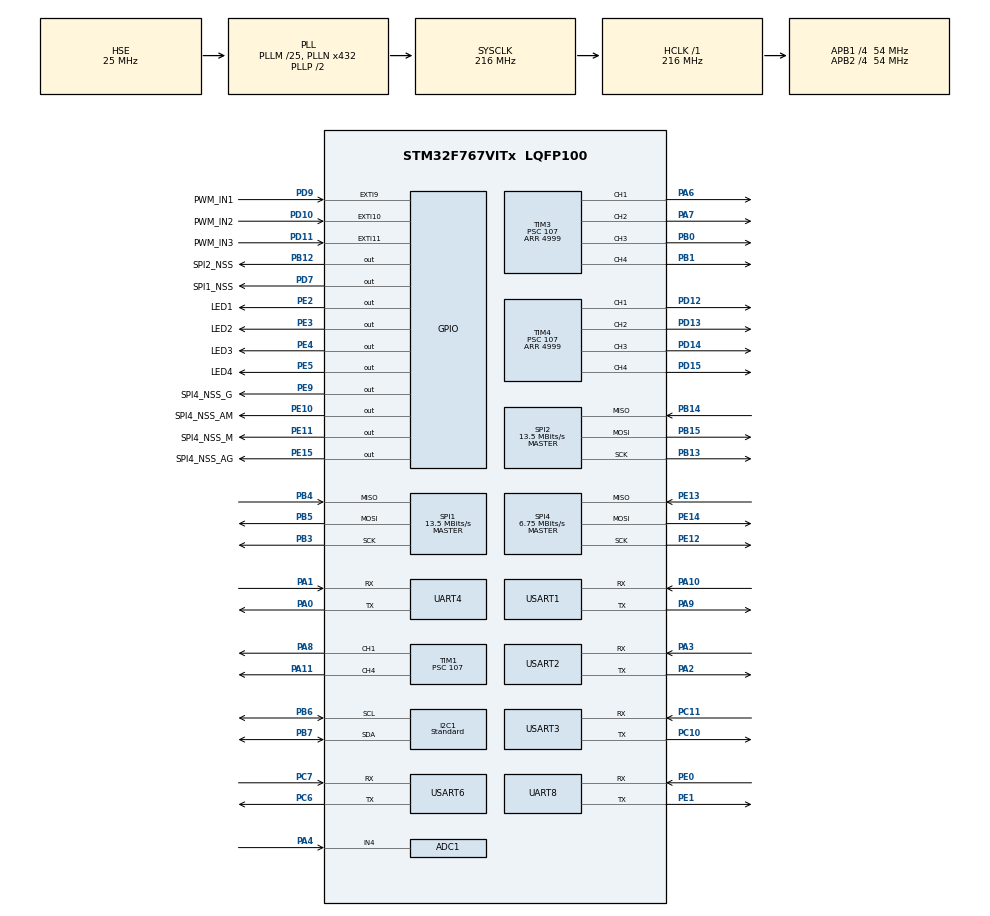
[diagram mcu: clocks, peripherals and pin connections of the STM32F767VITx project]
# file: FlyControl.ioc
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ADC1.Channel-0\#ChannelRegularConversion=ADC_CHANNEL_4
ADC1.NbrOfConversionFlag=1
ADC1.Rank-0\#ChannelRegularConversion=1
ADC1.SamplingTime-0\#ChannelRegularConversion=ADC_SAMPLETIME_3CYCLES
ADC1.master=1
Dma.ADC1.0.Direction=DMA_PERIPH_TO_MEMORY
Dma.ADC1.0.FIFOMode=DMA_FIFOMODE_DISABLE
Dma.ADC1.0.Instance=DMA2_Stream0
Dma.ADC1.0.MemDataAlignment=DMA_MDATAALIGN_HALFWORD
Dma.ADC1.0.MemInc=DMA_MINC_ENABLE
Dma.ADC1.0.Mode=DMA_NORMAL
Dma.ADC1.0.PeriphDataAlignment=DMA_PDATAALIGN_HALFWORD
Dma.ADC1.0.PeriphInc=DMA_PINC_DISABLE
Dma.ADC1.0.Priority=DMA_PRIORITY_LOW
Dma.I2C1_RX.1.Direction=DMA_PERIPH_TO_MEMORY
Dma.I2C1_RX.1.FIFOMode=DMA_FIFOMODE_DISABLE
Dma.I2C1_RX.1.Instance=DMA1_Stream5
Dma.I2C1_RX.1.MemDataAlignment=DMA_MDATAALIGN_BYTE
Dma.I2C1_RX.1.MemInc=DMA_MINC_ENABLE
Dma.I2C1_RX.1.Mode=DMA_NORMAL
Dma.I2C1_RX.1.PeriphDataAlignment=DMA_PDATAALIGN_BYTE
Dma.I2C1_RX.1.PeriphInc=DMA_PINC_DISABLE
Dma.I2C1_RX.1.Priority=DMA_PRIORITY_LOW
Dma.I2C1_TX.2.Direction=DMA_MEMORY_TO_PERIPH
Dma.I2C1_TX.2.FIFOMode=DMA_FIFOMODE_DISABLE
Dma.I2C1_TX.2.Instance=DMA1_Stream7
Dma.I2C1_TX.2.MemDataAlignment=DMA_MDATAALIGN_BYTE
Dma.I2C1_TX.2.MemInc=DMA_MINC_ENABLE
Dma.I2C1_TX.2.Mode=DMA_NORMAL
Dma.I2C1_TX.2.PeriphDataAlignment=DMA_PDATAALIGN_BYTE
Dma.I2C1_TX.2.PeriphInc=DMA_PINC_DISABLE
Dma.I2C1_TX.2.Priority=DMA_PRIORITY_LOW
Dma.Request0=ADC1
Dma.Request1=I2C1_RX
Dma.Request10=UART4_RX
Dma.Request11=UART4_TX
Dma.Request12=UART8_TX
Dma.Request2=I2C1_TX
Dma.Request3=USART3_RX
Dma.Request4=USART1_RX
Dma.Request5=USART1_TX
Dma.Request6=USART6_RX
Dma.Request7=USART6_TX
Dma.Request8=USART3_TX
Dma.Request9=UART8_RX
Dma.UART4_RX.10.Direction=DMA_PERIPH_TO_MEMORY
Dma.UART4_RX.10.FIFOMode=DMA_FIFOMODE_DISABLE
Dma.UART4_RX.10.Instance=DMA1_Stream2
Dma.UART4_RX.10.MemDataAlignment=DMA_MDATAALIGN_BYTE
Dma.UART4_RX.10.MemInc=DMA_MINC_ENABLE
Dma.UART4_RX.10.Mode=DMA_NORMAL
Dma.UART4_RX.10.PeriphDataAlignment=DMA_PDATAALIGN_BYTE
Dma.UART4_RX.10.PeriphInc=DMA_PINC_DISABLE
Dma.UART4_RX.10.Priority=DMA_PRIORITY_LOW
Dma.UART4_TX.11.Direction=DMA_MEMORY_TO_PERIPH
Dma.UART4_TX.11.FIFOMode=DMA_FIFOMODE_DISABLE
Dma.UART4_TX.11.Instance=DMA1_Stream4
Dma.UART4_TX.11.MemDataAlignment=DMA_MDATAALIGN_BYTE
Dma.UART4_TX.11.MemInc=DMA_MINC_ENABLE
Dma.UART4_TX.11.Mode=DMA_NORMAL
Dma.UART4_TX.11.PeriphDataAlignment=DMA_PDATAALIGN_BYTE
Dma.UART4_TX.11.PeriphInc=DMA_PINC_DISABLE
Dma.UART4_TX.11.Priority=DMA_PRIORITY_LOW
Dma.UART8_RX.9.Direction=DMA_PERIPH_TO_MEMORY
Dma.UART8_RX.9.FIFOMode=DMA_FIFOMODE_DISABLE
Dma.UART8_RX.9.Instance=DMA1_Stream6
Dma.UART8_RX.9.MemDataAlignment=DMA_MDATAALIGN_BYTE
Dma.UART8_RX.9.MemInc=DMA_MINC_ENABLE
Dma.UART8_RX.9.Mode=DMA_NORMAL
Dma.UART8_RX.9.PeriphDataAlignment=DMA_PDATAALIGN_BYTE
Dma.UART8_RX.9.PeriphInc=DMA_PINC_DISABLE
Dma.UART8_RX.9.Priority=DMA_PRIORITY_LOW
Dma.UART8_TX.12.Direction=DMA_MEMORY_TO_PERIPH
Dma.UART8_TX.12.FIFOMode=DMA_FIFOMODE_DISABLE
Dma.UART8_TX.12.Instance=DMA1_Stream0
Dma.UART8_TX.12.MemDataAlignment=DMA_MDATAALIGN_BYTE
Dma.UART8_TX.12.MemInc=DMA_MINC_ENABLE
Dma.UART8_TX.12.Mode=DMA_NORMAL
Dma.UART8_TX.12.PeriphDataAlignment=DMA_PDATAALIGN_BYTE
Dma.UART8_TX.12.PeriphInc=DMA_PINC_DISABLE
Dma.UART8_TX.12.Priority=DMA_PRIORITY_LOW
Dma.USART1_RX.4.Direction=DMA_PERIPH_TO_MEMORY
Dma.USART1_RX.4.FIFOMode=DMA_FIFOMODE_DISABLE
Dma.USART1_RX.4.Instance=DMA2_Stream2
Dma.USART1_RX.4.MemDataAlignment=DMA_MDATAALIGN_BYTE
Dma.USART1_RX.4.MemInc=DMA_MINC_ENABLE
Dma.USART1_RX.4.Mode=DMA_NORMAL
Dma.USART1_RX.4.PeriphDataAlignment=DMA_PDATAALIGN_BYTE
Dma.USART1_RX.4.PeriphInc=DMA_PINC_DISABLE
Dma.USART1_RX.4.Priority=DMA_PRIORITY_LOW
Dma.USART1_TX.5.Direction=DMA_MEMORY_TO_PERIPH
Dma.USART1_TX.5.FIFOMode=DMA_FIFOMODE_DISABLE
Dma.USART1_TX.5.Instance=DMA2_Stream7
Dma.USART1_TX.5.MemDataAlignment=DMA_MDATAALIGN_BYTE
Dma.USART1_TX.5.MemInc=DMA_MINC_ENABLE
Dma.USART1_TX.5.Mode=DMA_NORMAL
Dma.USART1_TX.5.PeriphDataAlignment=DMA_PDATAALIGN_BYTE
Dma.USART1_TX.5.PeriphInc=DMA_PINC_DISABLE
Dma.USART1_TX.5.Priority=DMA_PRIORITY_LOW
Dma.USART3_RX.3.Direction=DMA_PERIPH_TO_MEMORY
Dma.USART3_RX.3.FIFOMode=DMA_FIFOMODE_DISABLE
Dma.USART3_RX.3.Instance=DMA1_Stream1
Dma.USART3_RX.3.MemDataAlignment=DMA_MDATAALIGN_BYTE
Dma.USART3_RX.3.MemInc=DMA_MINC_ENABLE
Dma.USART3_RX.3.Mode=DMA_NORMAL
Dma.USART3_RX.3.PeriphDataAlignment=DMA_PDATAALIGN_BYTE
Dma.USART3_RX.3.PeriphInc=DMA_PINC_DISABLE
Dma.USART3_RX.3.Priority=DMA_PRIORITY_LOW
Dma.USART3_TX.8.Direction=DMA_MEMORY_TO_PERIPH
Dma.USART3_TX.8.FIFOMode=DMA_FIFOMODE_DISABLE
Dma.USART3_TX.8.Instance=DMA1_Stream3
Dma.USART3_TX.8.MemDataAlignment=DMA_MDATAALIGN_BYTE
Dma.USART3_TX.8.MemInc=DMA_MINC_ENABLE
Dma.USART3_TX.8.Mode=DMA_NORMAL
Dma.USART3_TX.8.PeriphDataAlignment=DMA_PDATAALIGN_BYTE
Dma.USART3_TX.8.PeriphInc=DMA_PINC_DISABLE
Dma.USART3_TX.8.Priority=DMA_PRIORITY_LOW
Dma.USART6_RX.6.Direction=DMA_PERIPH_TO_MEMORY
Dma.USART6_RX.6.FIFOMode=DMA_FIFOMODE_DISABLE
Dma.USART6_RX.6.Instance=DMA2_Stream1
Dma.USART6_RX.6.MemDataAlignment=DMA_MDATAALIGN_BYTE
Dma.USART6_RX.6.MemInc=DMA_MINC_ENABLE
Dma.USART6_RX.6.Mode=DMA_NORMAL
Dma.USART6_RX.6.PeriphDataAlignment=DMA_PDATAALIGN_BYTE
Dma.USART6_RX.6.PeriphInc=DMA_PINC_DISABLE
Dma.USART6_RX.6.Priority=DMA_PRIORITY_LOW
Dma.USART6_TX.7.Direction=DMA_MEMORY_TO_PERIPH
Dma.USART6_TX.7.FIFOMode=DMA_FIFOMODE_DISABLE
Dma.USART6_TX.7.Instance=DMA2_Stream6
Dma.USART6_TX.7.MemDataAlignment=DMA_MDATAALIGN_BYTE
Dma.USART6_TX.7.MemInc=DMA_MINC_ENABLE
Dma.USART6_TX.7.Mode=DMA_NORMAL
Dma.USART6_TX.7.PeriphDataAlignment=DMA_PDATAALIGN_BYTE
Dma.USART6_TX.7.PeriphInc=DMA_PINC_DISABLE
Dma.USART6_TX.7.Priority=DMA_PRIORITY_LOW
FREERTOS.BinarySemaphores01=myBinarySem01,Dynamic,NULL;myBinarySem02,Dynamic,NULL;myBinarySem03,Dynamic,NULL;myBinarySem04,Dynamic,NULL;myBinarySem05,Dynamic,NULL
FREERTOS.Tasks01=defaultTask,0,512,StartDefaultTask,Default,NULL,Dynamic,NULL,NULL;myTask02,-1,512,StartTask02,Default,NULL,Dynamic,NULL,NULL;myTask03,0,512,StartTask03,Default,NULL,Dynamic,NULL,NULL;myTask04,-2,512,StartTask04,Default,NULL,Dynamic,NULL,NULL;myTask05,-3,128,StartTask05,Default,NULL,Dynamic,NULL,NULL
FREERTOS.Timers01=myTimer01,Callback01,osTimerPeriodic,Default,NULL,Dynamic,NULL
FREERTOS.configUSE_TIMERS=1
I2C1.I2C_Speed_Mode=I2C_Standard
I2C1.Timing=0x20404768
Mcu.Family=STM32F7
Mcu.Name=STM32F767VITx
Mcu.Package=LQFP100
NVIC.DMA1_Stream0_IRQn=true\:10\:0\:true\:false\:true\:true\:false\:true
NVIC.DMA1_Stream1_IRQn=true\:10\:0\:true\:false\:true\:true\:false\:true
NVIC.DMA1_Stream2_IRQn=true\:10\:0\:true\:false\:true\:true\:false\:true
NVIC.DMA1_Stream3_IRQn=true\:10\:0\:true\:false\:true\:true\:false\:true
NVIC.DMA1_Stream4_IRQn=true\:10\:0\:true\:false\:true\:true\:false\:true
NVIC.DMA1_Stream5_IRQn=true\:5\:0\:false\:false\:true\:false\:false\:true
NVIC.DMA1_Stream6_IRQn=true\:10\:0\:true\:false\:true\:true\:false\:true
NVIC.DMA1_Stream7_IRQn=true\:5\:0\:false\:false\:true\:false\:false\:true
NVIC.DMA2_Stream0_IRQn=true\:5\:0\:false\:false\:true\:true\:false\:true
NVIC.DMA2_Stream1_IRQn=true\:10\:0\:true\:false\:true\:true\:false\:true
NVIC.DMA2_Stream2_IRQn=true\:10\:0\:true\:false\:true\:true\:false\:true
NVIC.DMA2_Stream6_IRQn=true\:10\:0\:true\:false\:true\:true\:false\:true
NVIC.DMA2_Stream7_IRQn=true\:10\:0\:true\:false\:true\:true\:false\:true
NVIC.EXTI15_10_IRQn=true\:6\:0\:true\:false\:true\:true\:true\:true
NVIC.EXTI9_5_IRQn=true\:6\:0\:true\:false\:true\:true\:true\:true
NVIC.PriorityGroup=NVIC_PRIORITYGROUP_4
NVIC.TIM5_IRQn=true\:7\:0\:true\:false\:true\:true\:true\:true
NVIC.TIM7_IRQn=true\:0\:0\:false\:false\:true\:false\:false\:true
NVIC.TimeBase=TIM7_IRQn
NVIC.TimeBaseIP=TIM7
NVIC.UART4_IRQn=true\:8\:0\:true\:false\:true\:true\:true\:true
NVIC.UART8_IRQn=true\:8\:0\:true\:false\:true\:true\:true\:true
NVIC.USART1_IRQn=true\:8\:0\:true\:false\:true\:true\:true\:true
NVIC.USART2_IRQn=true\:8\:0\:true\:false\:true\:true\:true\:true
NVIC.USART3_IRQn=true\:8\:0\:true\:false\:true\:true\:true\:true
NVIC.USART6_IRQn=true\:8\:0\:true\:false\:true\:true\:true\:true
PA0/WKUP.Mode=Asynchronous
PA0/WKUP.Signal=UART4_TX
PA1.Mode=Asynchronous
PA1.Signal=UART4_RX
PA10.Mode=Asynchronous
PA10.Signal=USART1_RX
PA11.Signal=S_TIM1_CH4
PA13.Mode=Serial_Wire
PA13.Signal=SYS_JTMS-SWDIO
PA14.Mode=Serial_Wire
PA14.Signal=SYS_JTCK-SWCLK
PA2.Mode=Asynchronous
PA2.Signal=USART2_TX
PA3.Mode=Asynchronous
PA3.Signal=USART2_RX
PA4.Signal=ADCx_IN4
PA6.Signal=S_TIM3_CH1
PA7.Signal=S_TIM3_CH2
PA8.Signal=S_TIM1_CH1
PA9.Mode=Asynchronous
PA9.Signal=USART1_TX
PB0.Signal=S_TIM3_CH3
PB1.Signal=S_TIM3_CH4
PB12.GPIO_Label=SPI2_NSS
PB12.Signal=GPIO_Output
PB13.Mode=Full_Duplex_Master
PB13.Signal=SPI2_SCK
PB14.Mode=Full_Duplex_Master
PB14.Signal=SPI2_MISO
PB15.Mode=Full_Duplex_Master
PB15.Signal=SPI2_MOSI
PB3.Mode=Full_Duplex_Master
PB3.Signal=SPI1_SCK
PB4.Mode=Full_Duplex_Master
PB4.Signal=SPI1_MISO
PB5.Mode=Full_Duplex_Master
PB5.Signal=SPI1_MOSI
PB6.Mode=I2C
PB6.Signal=I2C1_SCL
PB7.Mode=I2C
PB7.Signal=I2C1_SDA
PC10.Mode=Asynchronous
PC10.Signal=USART3_TX
PC11.Mode=Asynchronous
PC11.Signal=USART3_RX
PC6.Mode=Asynchronous
PC6.Signal=USART6_TX
PC7.Mode=Asynchronous
PC7.Signal=USART6_RX
PD10.GPIO_Label=PWM_IN2
PD10.Signal=GPXTI10
PD11.GPIO_Label=PWM_IN3
PD11.Signal=GPXTI11
PD12.Signal=S_TIM4_CH1
PD13.Signal=S_TIM4_CH2
PD14.Signal=S_TIM4_CH3
PD15.Signal=S_TIM4_CH4
PD7.GPIO_Label=SPI1_NSS
PD7.PinState=GPIO_PIN_RESET
PD7.Signal=GPIO_Output
PD9.GPIO_Label=PWM_IN1
PD9.GPIO_ModeDefaultEXTI=GPIO_MODE_IT_FALLING
PD9.GPIO_PuPd=GPIO_PULLDOWN
PD9.Signal=GPXTI9
PE0.Mode=Asynchronous
PE0.Signal=UART8_RX
PE1.Mode=Asynchronous
PE1.Signal=UART8_TX
PE10.GPIO_Label=SPI4_NSS_AM
PE10.PinState=GPIO_PIN_SET
PE10.Signal=GPIO_Output
PE11.GPIO_Label=SPI4_NSS_M
PE11.PinState=GPIO_PIN_SET
PE11.Signal=GPIO_Output
PE12.Mode=Full_Duplex_Master
PE12.Signal=SPI4_SCK
PE13.Mode=Full_Duplex_Master
PE13.Signal=SPI4_MISO
PE14.Mode=Full_Duplex_Master
PE14.Signal=SPI4_MOSI
PE15.GPIO_Label=SPI4_NSS_AG
PE15.PinState=GPIO_PIN_SET
PE15.Signal=GPIO_Output
PE2.GPIO_Label=LED1
PE2.PinState=GPIO_PIN_SET
PE2.Signal=GPIO_Output
PE3.GPIO_Label=LED2
PE3.PinState=GPIO_PIN_SET
PE3.Signal=GPIO_Output
PE4.GPIO_Label=LED3
PE4.PinState=GPIO_PIN_SET
PE4.Signal=GPIO_Output
PE5.GPIO_Label=LED4
PE5.PinState=GPIO_PIN_SET
PE5.Signal=GPIO_Output
PE9.GPIO_Label=SPI4_NSS_G
PE9.PinState=GPIO_PIN_SET
PE9.Signal=GPIO_Output
PH0/OSC_IN.Mode=HSE-External-Oscillator
PH0/OSC_IN.Signal=RCC_OSC_IN
PH1/OSC_OUT.Mode=HSE-External-Oscillator
PH1/OSC_OUT.Signal=RCC_OSC_OUT
ProjectManager.HeapSize=0x200
ProjectManager.StackSize=0x400
ProjectManager.TargetToolchain=MDK-ARM V5
RCC.AHBFreq_Value=216000000
RCC.APB1CLKDivider=RCC_HCLK_DIV4
RCC.APB1Freq_Value=54000000
RCC.APB1TimFreq_Value=108000000
RCC.APB2CLKDivider=RCC_HCLK_DIV4
RCC.APB2Freq_Value=54000000
RCC.APB2TimFreq_Value=108000000
RCC.CortexFreq_Value=216000000
RCC.HCLKFreq_Value=216000000
RCC.HSE_VALUE=25000000
RCC.HSI_VALUE=16000000
RCC.LSE_VALUE=32768
RCC.PLLM=25
RCC.PLLN=432
RCC.PLLSourceVirtual=RCC_PLLSOURCE_HSE
RCC.SYSCLKFreq_VALUE=216000000
RCC.SYSCLKSource=RCC_SYSCLKSOURCE_PLLCLK
RCC.USBFreq_Value=216000000
RCC.VCOOutputFreq_Value=432000000
SH.ADCx_IN4.0=ADC1_IN4,IN4
SH.S_TIM1_CH1.0=TIM1_CH1,PWM Generation1 CH1
SH.S_TIM1_CH4.0=TIM1_CH4,PWM Generation4 CH4
SH.S_TIM3_CH1.0=TIM3_CH1,PWM Generation1 CH1
SH.S_TIM3_CH2.0=TIM3_CH2,PWM Generation2 CH2
SH.S_TIM3_CH3.0=TIM3_CH3,PWM Generation3 CH3
SH.S_TIM3_CH4.0=TIM3_CH4,PWM Generation4 CH4
SH.S_TIM4_CH1.0=TIM4_CH1,PWM Generation1 CH1
SH.S_TIM4_CH2.0=TIM4_CH2,PWM Generation2 CH2
SH.S_TIM4_CH3.0=TIM4_CH3,PWM Generation3 CH3
SH.S_TIM4_CH4.0=TIM4_CH4,PWM Generation4 CH4
SPI1.BaudRatePrescaler=SPI_BAUDRATEPRESCALER_4
SPI1.CLKPhase=SPI_PHASE_2EDGE
SPI1.CLKPolarity=SPI_POLARITY_HIGH
SPI1.CalculateBaudRate=13.5 MBits/s
SPI1.DataSize=SPI_DATASIZE_8BIT
SPI1.Direction=SPI_DIRECTION_2LINES
SPI1.Mode=SPI_MODE_MASTER
SPI1.VirtualType=VM_MASTER
SPI2.BaudRatePrescaler=SPI_BAUDRATEPRESCALER_4
SPI2.CLKPhase=SPI_PHASE_2EDGE
SPI2.CLKPolarity=SPI_POLARITY_HIGH
SPI2.CalculateBaudRate=13.5 MBits/s
SPI2.DataSize=SPI_DATASIZE_8BIT
SPI2.Direction=SPI_DIRECTION_2LINES
SPI2.Mode=SPI_MODE_MASTER
SPI2.VirtualType=VM_MASTER
SPI4.BaudRatePrescaler=SPI_BAUDRATEPRESCALER_8
SPI4.CLKPhase=SPI_PHASE_2EDGE
SPI4.CLKPolarity=SPI_POLARITY_HIGH
SPI4.CalculateBaudRate=6.75 MBits/s
SPI4.DataSize=SPI_DATASIZE_8BIT
SPI4.Direction=SPI_DIRECTION_2LINES
SPI4.Mode=SPI_MODE_MASTER
SPI4.VirtualType=VM_MASTER
TIM1.Channel-PWM\ Generation1\ CH1=TIM_CHANNEL_1
TIM1.Channel-PWM\ Generation4\ CH4=TIM_CHANNEL_4
TIM1.Period=999
TIM1.Prescaler=107
TIM2.Period=0xFFFFFFFF
TIM2.Prescaler=107
TIM3.Channel-PWM\ Generation1\ CH1=TIM_CHANNEL_1
TIM3.Channel-PWM\ Generation2\ CH2=TIM_CHANNEL_2
TIM3.Channel-PWM\ Generation3\ CH3=TIM_CHANNEL_3
TIM3.Channel-PWM\ Generation4\ CH4=TIM_CHANNEL_4
TIM3.Period=4999
TIM3.Prescaler=107
TIM4.Channel-PWM\ Generation1\ CH1=TIM_CHANNEL_1
TIM4.Channel-PWM\ Generation2\ CH2=TIM_CHANNEL_2
TIM4.Channel-PWM\ Generation3\ CH3=TIM_CHANNEL_3
TIM4.Channel-PWM\ Generation4\ CH4=TIM_CHANNEL_4
TIM4.Period=4999
TIM4.Prescaler=107
TIM5.Period=999
TIM5.Prescaler=107
UART4.DMADisableonRxErrorParam=UART_ADVFEATURE_DMA_DISABLEONRXERROR
UART4.OverrunDisableParam=UART_ADVFEATURE_OVERRUN_DISABLE
UART8.DMADisableonRxErrorParam=UART_ADVFEATURE_DMA_DISABLEONRXERROR
UART8.OverrunDisableParam=UART_ADVFEATURE_OVERRUN_DISABLE
USART1.DMADisableonRxErrorParam=ADVFEATURE_DMA_DISABLEONRXERROR
USART1.OverrunDisableParam=ADVFEATURE_OVERRUN_DISABLE
USART1.VirtualMode-Asynchronous=VM_ASYNC
USART2.DMADisableonRxErrorParam=ADVFEATURE_DMA_DISABLEONRXERROR
USART2.OverrunDisableParam=ADVFEATURE_OVERRUN_DISABLE
USART2.VirtualMode-Asynchronous=VM_ASYNC
USART3.DMADisableonRxErrorParam=ADVFEATURE_DMA_DISABLEONRXERROR
USART3.OverrunDisableParam=ADVFEATURE_OVERRUN_DISABLE
USART3.VirtualMode-Asynchronous=VM_ASYNC
USART6.DMADisableonRxErrorParam=ADVFEATURE_DMA_DISABLEONRXERROR
USART6.OverrunDisableParam=ADVFEATURE_OVERRUN_DISABLE
USART6.VirtualMode=VM_ASYNC
VP_FREERTOS_VS_CMSIS_V1.Mode=CMSIS_V1
VP_SYS_VS_tim7.Mode=TIM7
VP_TIM1_VS_ClockSourceINT.Mode=Internal
VP_TIM2_VS_ClockSourceINT.Mode=Internal
VP_TIM3_VS_ClockSourceINT.Mode=Internal
VP_TIM4_VS_ClockSourceINT.Mode=Internal
VP_TIM5_VS_ClockSourceINT.Mode=Internal
board=custom

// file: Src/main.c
/* USER CODE BEGIN Header */
/**
  ******************************************************************************
  * @file           : main.c
  * @brief          : Main program body
  ******************************************************************************
  * @attention
  *
  * <h2><center>&copy; Copyright (c) 2019 STMicroelectronics.
  * All rights reserved.</center></h2>
  *
  * This software component is licensed by ST under Ultimate Liberty license
  * SLA0044, the "License"; You may not use this file except in compliance with
  * the License. You may obtain a copy of the License at:
  *                             www.st.com/SLA0044
  *
  ******************************************************************************
  */
/* USER CODE END Header */

#include "main.h"
#include "cmsis_os.h"
#include "adc.h"
#include "dma.h"
#include "i2c.h"
#include "spi.h"
#include "tim.h"
#include "usart.h"
#include "gpio.h"

void SystemClock_Config(void);
void MX_FREERTOS_Init(void);

int main(void)
{

  /* MCU Configuration--------------------------------------------------------*/

  /* Reset of all peripherals, Initializes the Flash interface and the Systick. */
  HAL_Init();

  /* Configure the system clock */
  SystemClock_Config();

  /* Initialize all configured peripherals */
  MX_GPIO_Init();
  MX_DMA_Init();
  MX_ADC1_Init();
  MX_I2C1_Init();
  MX_SPI1_Init();
  MX_SPI2_Init();
  MX_SPI4_Init();
  MX_TIM1_Init();
  MX_TIM2_Init();
  MX_TIM3_Init();
  MX_TIM4_Init();
  MX_TIM5_Init();
  MX_UART4_Init();
  MX_UART8_Init();
  MX_USART1_UART_Init();
  MX_USART2_UART_Init();
  MX_USART3_UART_Init();
  MX_USART6_UART_Init();
  /* USER CODE BEGIN 2 */
//
  /* USER CODE END 2 */

  /* Call init function for freertos objects (in freertos.c) */
  MX_FREERTOS_Init();

  /* Start scheduler */
  osKernelStart();

  /* We should never get here as control is now taken by the scheduler */

  /* Infinite loop */
  while (1)
  {

  }
}

void SystemClock_Config(void)
{
  RCC_OscInitTypeDef RCC_OscInitStruct = {0};
  RCC_ClkInitTypeDef RCC_ClkInitStruct = {0};
  RCC_PeriphCLKInitTypeDef PeriphClkInitStruct = {0};

  /** Configure the main internal regulator output voltage
  */
  __HAL_RCC_PWR_CLK_ENABLE();
  __HAL_PWR_VOLTAGESCALING_CONFIG(PWR_REGULATOR_VOLTAGE_SCALE1);
  /** Initializes the CPU, AHB and APB busses clocks
  */
  RCC_OscInitStruct.OscillatorType = RCC_OSCILLATORTYPE_HSE;
  RCC_OscInitStruct.HSEState = RCC_HSE_ON;
  RCC_OscInitStruct.PLL.PLLState = RCC_PLL_ON;
  RCC_OscInitStruct.PLL.PLLSource = RCC_PLLSOURCE_HSE;
  RCC_OscInitStruct.PLL.PLLM = 25;
  RCC_OscInitStruct.PLL.PLLN = 432;
  RCC_OscInitStruct.PLL.PLLP = RCC_PLLP_DIV2;
  RCC_OscInitStruct.PLL.PLLQ = 2;
  if (HAL_RCC_OscConfig(&RCC_OscInitStruct) != HAL_OK)
  {
    Error_Handler();
  }
  /** Activate the Over-Drive mode
  */
  if (HAL_PWREx_EnableOverDrive() != HAL_OK)
  {
    Error_Handler();
  }
  /** Initializes the CPU, AHB and APB busses clocks
  */
  RCC_ClkInitStruct.ClockType = RCC_CLOCKTYPE_HCLK|RCC_CLOCKTYPE_SYSCLK
                              |RCC_CLOCKTYPE_PCLK1|RCC_CLOCKTYPE_PCLK2;
  RCC_ClkInitStruct.SYSCLKSource = RCC_SYSCLKSOURCE_PLLCLK;
  RCC_ClkInitStruct.AHBCLKDivider = RCC_SYSCLK_DIV1;
  RCC_ClkInitStruct.APB1CLKDivider = RCC_HCLK_DIV4;
  RCC_ClkInitStruct.APB2CLKDivider = RCC_HCLK_DIV4;

  if (HAL_RCC_ClockConfig(&RCC_ClkInitStruct, FLASH_LATENCY_7) != HAL_OK)
  {
    Error_Handler();
  }
  PeriphClkInitStruct.PeriphClockSelection = RCC_PERIPHCLK_USART1|RCC_PERIPHCLK_USART2
                              |RCC_PERIPHCLK_USART3|RCC_PERIPHCLK_USART6
                              |RCC_PERIPHCLK_UART4|RCC_PERIPHCLK_UART8
                              |RCC_PERIPHCLK_I2C1;
  PeriphClkInitStruct.Usart1ClockSelection = RCC_USART1CLKSOURCE_PCLK2;
  PeriphClkInitStruct.Usart2ClockSelection = RCC_USART2CLKSOURCE_PCLK1;
  PeriphClkInitStruct.Usart3ClockSelection = RCC_USART3CLKSOURCE_PCLK1;
  PeriphClkInitStruct.Uart4ClockSelection = RCC_UART4CLKSOURCE_PCLK1;
  PeriphClkInitStruct.Usart6ClockSelection = RCC_USART6CLKSOURCE_PCLK2;
  PeriphClkInitStruct.Uart8ClockSelection = RCC_UART8CLKSOURCE_PCLK1;
  PeriphClkInitStruct.I2c1ClockSelection = RCC_I2C1CLKSOURCE_PCLK1;
  if (HAL_RCCEx_PeriphCLKConfig(&PeriphClkInitStruct) != HAL_OK)
  {
    Error_Handler();
  }
}

void HAL_TIM_PeriodElapsedCallback(TIM_HandleTypeDef *htim)
{
  if (htim->Instance == TIM7) {
    HAL_IncTick();
  }
}

void Error_Handler(void)
{
}

/************************ (C) COPYRIGHT STMicroelectronics *****END OF FILE****/

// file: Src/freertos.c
/* USER CODE BEGIN Header */
/**
  ******************************************************************************
  * File Name          : freertos.c
  * Description        : Code for freertos applications
  ******************************************************************************
  * @attention
  *
  * <h2><center>&copy; Copyright (c) 2019 STMicroelectronics.
  * All rights reserved.</center></h2>
  *
  * This software component is licensed by ST under Ultimate Liberty license
  * SLA0044, the "License"; You may not use this file except in compliance with
  * the License. You may obtain a copy of the License at:
  *                             www.st.com/SLA0044
  *
  ******************************************************************************
  */
/* USER CODE END Header */

#include "FreeRTOS.h"
#include "task.h"
#include "main.h"
#include "cmsis_os.h"

/* USER CODE BEGIN Includes */
#include "userlib.h"
#include "system.h"
/* USER CODE END Includes */

osThreadId defaultTaskHandle;
osThreadId myTask02Handle;
osThreadId myTask03Handle;
osThreadId myTask04Handle;
osThreadId myTask05Handle;
osTimerId myTimer01Handle;
osSemaphoreId myBinarySem01Handle;
osSemaphoreId myBinarySem02Handle;
osSemaphoreId myBinarySem03Handle;
osSemaphoreId myBinarySem04Handle;
osSemaphoreId myBinarySem05Handle;

void StartDefaultTask(void const * argument);
void StartTask02(void const * argument);
void StartTask03(void const * argument);
void StartTask04(void const * argument);
void StartTask05(void const * argument);
void Callback01(void const * argument);

void MX_FREERTOS_Init(void); /* (MISRA C 2004 rule 8.1) */

void MX_FREERTOS_Init(void) {
  /* USER CODE BEGIN Init */
	Sys_Init();
  /* USER CODE END Init */

  /* Create the semaphores(s) */
  /* definition and creation of myBinarySem01 */
  osSemaphoreDef(myBinarySem01);
  myBinarySem01Handle = osSemaphoreCreate(osSemaphore(myBinarySem01), 1);

  /* definition and creation of myBinarySem02 */
  osSemaphoreDef(myBinarySem02);
  myBinarySem02Handle = osSemaphoreCreate(osSemaphore(myBinarySem02), 1);

  /* definition and creation of myBinarySem03 */
  osSemaphoreDef(myBinarySem03);
  myBinarySem03Handle = osSemaphoreCreate(osSemaphore(myBinarySem03), 1);

  /* definition and creation of myBinarySem04 */
  osSemaphoreDef(myBinarySem04);
  myBinarySem04Handle = osSemaphoreCreate(osSemaphore(myBinarySem04), 1);

  /* definition and creation of myBinarySem05 */
  osSemaphoreDef(myBinarySem05);
  myBinarySem05Handle = osSemaphoreCreate(osSemaphore(myBinarySem05), 1);

  /* Create the timer(s) */
  /* definition and creation of myTimer01 */
  osTimerDef(myTimer01, Callback01);
  myTimer01Handle = osTimerCreate(osTimer(myTimer01), osTimerPeriodic, NULL);

  /* USER CODE BEGIN RTOS_TIMERS */
  /* start timers, add new ones, ... */
	osTimerStart(myTimer01Handle, 1);
  /* USER CODE END RTOS_TIMERS */

  /* Create the thread(s) */
  /* definition and creation of defaultTask */
  osThreadDef(defaultTask, StartDefaultTask, osPriorityNormal, 0, 512);
  defaultTaskHandle = osThreadCreate(osThread(defaultTask), NULL);

  /* definition and creation of myTask02 */
  osThreadDef(myTask02, StartTask02, osPriorityBelowNormal, 0, 512);
  myTask02Handle = osThreadCreate(osThread(myTask02), NULL);

  /* definition and creation of myTask03 */
  osThreadDef(myTask03, StartTask03, osPriorityNormal, 0, 1536);
  myTask03Handle = osThreadCreate(osThread(myTask03), NULL);

  /* definition and creation of myTask04 */
  osThreadDef(myTask04, StartTask04, osPriorityLow, 0, 128);
  myTask04Handle = osThreadCreate(osThread(myTask04), NULL);

  /* definition and creation of myTask05 */
  osThreadDef(myTask05, StartTask05, osPriorityIdle, 0, 128);
  myTask05Handle = osThreadCreate(osThread(myTask05), NULL);

}

void StartDefaultTask(void const * argument)
{

  /* USER CODE BEGIN StartDefaultTask */
  /* Infinite loop */
  for(;;)
  {
    osSemaphoreWait(myBinarySem01Handle,osWaitForever);
    Sys_1ms();
  }
  /* USER CODE END StartDefaultTask */
}

void StartTask02(void const * argument)
{
  /* USER CODE BEGIN StartTask02 */
  /* Infinite loop */
  for(;;)
  {
    osSemaphoreWait(myBinarySem02Handle,osWaitForever);
		Sys_Get();
  }
  /* USER CODE END StartTask02 */
}

void StartTask03(void const * argument)
{
  /* USER CODE BEGIN StartTask03 */
  /* Infinite loop */
  for(;;)
  {
    osSemaphoreWait(myBinarySem03Handle,osWaitForever);
    Sys_Run();
  }
  /* USER CODE END StartTask03 */
}

void StartTask04(void const * argument)
{
  /* USER CODE BEGIN StartTask04 */
  /* Infinite loop */
  for(;;)
  {
    osSemaphoreWait(myBinarySem04Handle,osWaitForever);
    Sys_Spr();
  }
  /* USER CODE END StartTask04 */
}

void StartTask05(void const * argument)
{
  /* USER CODE BEGIN StartTask05 */
  /* Infinite loop */
  for(;;)
  {
    osSemaphoreWait(myBinarySem05Handle,osWaitForever);
		Sys_Chk();
//		HAL_GPIO_TogglePin(GPIOE,LED2_Pin);
  }
  /* USER CODE END StartTask05 */
}

/* Callback01 function */
void Callback01(void const * argument)
{
  /* USER CODE BEGIN Callback01 */
  static u32 Timer = 0;
  static u32 TaskTime[5]={1,5,10,10,100};
  Timer++;
  if(Timer%TaskTime[0]==TaskTime[0]-1)osSemaphoreRelease(myBinarySem01Handle);
//	if(SYNC_FLAG==false)return;
  if(Timer%TaskTime[1]==TaskTime[1]-1)osSemaphoreRelease(myBinarySem02Handle);
  if(Timer%TaskTime[2]==TaskTime[2]-1)osSemaphoreRelease(myBinarySem03Handle);
  if(Timer%TaskTime[3]==TaskTime[3]-1)osSemaphoreRelease(myBinarySem04Handle);
  if(Timer%TaskTime[4]==TaskTime[4]-1)osSemaphoreRelease(myBinarySem05Handle);
  /* USER CODE END Callback01 */
}

/************************ (C) COPYRIGHT STMicroelectronics *****END OF FILE****/
